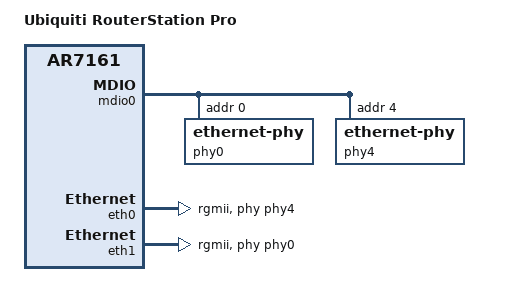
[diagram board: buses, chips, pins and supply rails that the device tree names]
// SPDX-License-Identifier: GPL-2.0-or-later OR MIT
/dts-v1/;

#include "ar7161_ubnt_routerstation.dtsi"

/ {
	compatible = "ubnt,routerstation-pro", "qca,ar7161";
	model = "Ubiquiti RouterStation Pro";
};

&mdio0 {
	status = "okay";

	phy0: ethernet-phy@0 {
		reg = <0>;
	};

	phy4: ethernet-phy@4 {
		reg = <4>;
	};
};

&eth0 {
	phy-mode = "rgmii";
	phy-handle = <&phy4>;
};

&eth1 {
	phy-mode = "rgmii";
	phy-handle = <&phy0>;
};
